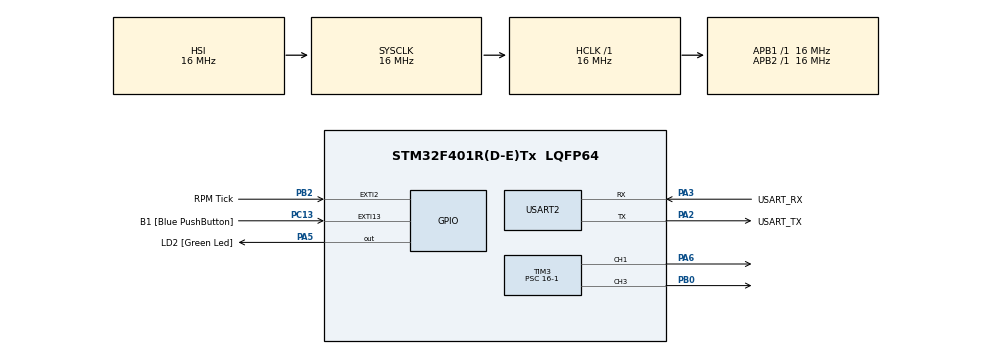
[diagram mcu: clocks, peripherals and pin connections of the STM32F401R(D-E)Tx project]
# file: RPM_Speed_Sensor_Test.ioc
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Mcu.Family=STM32F4
Mcu.Name=STM32F401R(D-E)Tx
Mcu.Package=LQFP64
NVIC.EXTI2_IRQn=true\:0\:0\:false\:false\:true\:true\:true\:true
NVIC.PriorityGroup=NVIC_PRIORITYGROUP_4
PA13.GPIO_Label=TMS
PA13.Mode=Trace_Asynchronous_SW
PA13.Signal=SYS_JTMS-SWDIO
PA14.GPIO_Label=TCK
PA14.Mode=Trace_Asynchronous_SW
PA14.Signal=SYS_JTCK-SWCLK
PA2.GPIO_Label=USART_TX
PA2.GPIO_Mode=GPIO_MODE_AF_PP
PA2.GPIO_PuPd=GPIO_NOPULL
PA2.GPIO_Speed=GPIO_SPEED_FREQ_LOW
PA2.Mode=Asynchronous
PA2.Signal=USART2_TX
PA3.GPIO_Label=USART_RX
PA3.GPIO_Mode=GPIO_MODE_AF_PP
PA3.GPIO_PuPd=GPIO_NOPULL
PA3.GPIO_Speed=GPIO_SPEED_FREQ_LOW
PA3.Mode=Asynchronous
PA3.Signal=USART2_RX
PA5.GPIO_Label=LD2 [Green Led]
PA5.GPIO_Mode=GPIO_MODE_OUTPUT_PP
PA5.GPIO_PuPd=GPIO_NOPULL
PA5.GPIO_Speed=GPIO_SPEED_FREQ_LOW
PA5.Signal=GPIO_Output
PA6.Signal=S_TIM3_CH1
PB0.Signal=S_TIM3_CH3
PB2.GPIO_Label=RPM Tick
PB2.Signal=GPXTI2
PB3.GPIO_Label=SWO
PB3.Mode=Trace_Asynchronous_SW
PB3.Signal=SYS_JTDO-SWO
PC13-ANTI_TAMP.GPIO_Label=B1 [Blue PushButton]
PC13-ANTI_TAMP.GPIO_ModeDefaultEXTI=GPIO_MODE_IT_FALLING
PC13-ANTI_TAMP.GPIO_PuPd=GPIO_NOPULL
PC13-ANTI_TAMP.Signal=GPXTI13
PC14-OSC32_IN.Mode=LSE-External-Oscillator
PC14-OSC32_IN.Signal=RCC_OSC32_IN
PC15-OSC32_OUT.Mode=LSE-External-Oscillator
PC15-OSC32_OUT.Signal=RCC_OSC32_OUT
PH0\ -\ OSC_IN.Mode=HSE-External-Clock-Source
PH0\ -\ OSC_IN.Signal=RCC_OSC_IN
PH1\ -\ OSC_OUT.Mode=HSE-External-Clock-Source
PH1\ -\ OSC_OUT.Signal=RCC_OSC_OUT
ProjectManager.HeapSize=0x200
ProjectManager.StackSize=0x400
ProjectManager.TargetToolchain=STM32CubeIDE
RCC.48MHZClocksFreq_Value=48000000
RCC.AHBFreq_Value=16000000
RCC.APB1Freq_Value=16000000
RCC.APB1TimFreq_Value=16000000
RCC.APB2Freq_Value=16000000
RCC.APB2TimFreq_Value=16000000
RCC.CortexFreq_Value=16000000
RCC.HCLKFreq_Value=16000000
RCC.HSE_VALUE=8000000
RCC.HSI_VALUE=16000000
RCC.PLLN=336
RCC.PLLP=RCC_PLLP_DIV4
RCC.PLLQ=7
RCC.SYSCLKFreq_VALUE=16000000
RCC.VCOOutputFreq_Value=336000000
SH.S_TIM3_CH1.0=TIM3_CH1,PWM Generation1 CH1
SH.S_TIM3_CH3.0=TIM3_CH3,PWM Generation3 CH3
TIM3.AutoReloadPreload=TIM_AUTORELOAD_PRELOAD_ENABLE
TIM3.Channel-PWM\ Generation1\ CH1=TIM_CHANNEL_1
TIM3.Channel-PWM\ Generation3\ CH3=TIM_CHANNEL_3
TIM3.Period=2000-1
TIM3.Prescaler=16-1
TIM3.Pulse-PWM\ Generation1\ CH1=1200-1
USART2.VirtualMode=VM_ASYNC
VP_TIM3_VS_ClockSourceINT.Mode=Internal
board=NUCLEO-F401RE

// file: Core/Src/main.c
/* USER CODE BEGIN Header */
/**
  ******************************************************************************
  * @file           : main.c
  * @brief          : Main program body
  ******************************************************************************
  * @attention
  *
  * Copyright (c) 2025 STMicroelectronics.
  * All rights reserved.
  *
  * This software is licensed under terms that can be found in the LICENSE file
  * in the root directory of this software component.
  * If no LICENSE file comes with this software, it is provided AS-IS.
  *
  ******************************************************************************
  */
/* USER CODE END Header */
#include "main.h"

/* USER CODE BEGIN Includes */
#include <string.h>
#include <stdio.h>
/* USER CODE END Includes */

TIM_HandleTypeDef htim3;

UART_HandleTypeDef huart2;

/* USER CODE BEGIN PV */

volatile uint16_t rpm_tick_count = 0;

/* USER CODE END PV */

void SystemClock_Config(void);
static void MX_GPIO_Init(void);
static void MX_USART2_UART_Init(void);
static void MX_TIM3_Init(void);
/* USER CODE BEGIN PFP */
static void send_rpm_tick(void);
/* USER CODE END PFP */

int main(void)
{

  /* MCU Configuration--------------------------------------------------------*/

  /* Reset of all peripherals, Initializes the Flash interface and the Systick. */
  HAL_Init();

  /* Configure the system clock */
  SystemClock_Config();

  /* Initialize all configured peripherals */
  MX_GPIO_Init();
  MX_USART2_UART_Init();
  MX_TIM3_Init();
  /* USER CODE BEGIN 2 */
  HAL_TIM_Base_Init(&htim3);
  HAL_TIM_PWM_Start(&htim3, TIM_CHANNEL_1);
  HAL_TIM_PWM_Start(&htim3, TIM_CHANNEL_3);

  TIM3 -> PSC = 16 - 1;
  TIM3 -> ARR = 2000 - 1;
  TIM3 -> CCR1 = 1200 - 1;
  TIM3 -> CCR3 = 0;

  int TIM3_Ch1_DCVAL = 0;
  int TIM3_Ch3_DCVAL = 0;

  /* USER CODE END 2 */

  /* Infinite loop */
  /* USER CODE BEGIN WHILE */
  while (1)
  {
	  while(TIM3_Ch1_DCVAL < 2000) {
		  TIM3_Ch1_DCVAL += (100);
		  TIM3 -> CCR1 = TIM3_Ch1_DCVAL;

		  send_rpm_tick();
		  HAL_Delay(5000);
	  }

	  while(TIM3_Ch1_DCVAL > 0) {
		  TIM3_Ch1_DCVAL -= (100);
		  TIM3 -> CCR1 = TIM3_Ch1_DCVAL;

		  send_rpm_tick();
		  HAL_Delay(5000);
	  }

	  while(TIM3_Ch3_DCVAL < 2000) {
		 TIM3_Ch3_DCVAL += (100);
		 TIM3 -> CCR3 = TIM3_Ch3_DCVAL;

		 send_rpm_tick();
		 HAL_Delay(5000);
	  }

	  while(TIM3_Ch3_DCVAL > 0) {
		  TIM3_Ch3_DCVAL -= (100);
		  TIM3 -> CCR3 = TIM3_Ch3_DCVAL;

		  send_rpm_tick();
		  HAL_Delay(5000);
	  }
    /* USER CODE END WHILE */

  }
}

void SystemClock_Config(void)
{
  RCC_OscInitTypeDef RCC_OscInitStruct = {0};
  RCC_ClkInitTypeDef RCC_ClkInitStruct = {0};

  /** Configure the main internal regulator output voltage
  */
  __HAL_RCC_PWR_CLK_ENABLE();
  __HAL_PWR_VOLTAGESCALING_CONFIG(PWR_REGULATOR_VOLTAGE_SCALE2);

  /** Initializes the RCC Oscillators according to the specified parameters
  * in the RCC_OscInitTypeDef structure.
  */
  RCC_OscInitStruct.OscillatorType = RCC_OSCILLATORTYPE_HSI;
  RCC_OscInitStruct.HSIState = RCC_HSI_ON;
  RCC_OscInitStruct.HSICalibrationValue = RCC_HSICALIBRATION_DEFAULT;
  RCC_OscInitStruct.PLL.PLLState = RCC_PLL_NONE;
  if (HAL_RCC_OscConfig(&RCC_OscInitStruct) != HAL_OK)
  {
    Error_Handler();
  }

  /** Initializes the CPU, AHB and APB buses clocks
  */
  RCC_ClkInitStruct.ClockType = RCC_CLOCKTYPE_HCLK|RCC_CLOCKTYPE_SYSCLK
                              |RCC_CLOCKTYPE_PCLK1|RCC_CLOCKTYPE_PCLK2;
  RCC_ClkInitStruct.SYSCLKSource = RCC_SYSCLKSOURCE_HSI;
  RCC_ClkInitStruct.AHBCLKDivider = RCC_SYSCLK_DIV1;
  RCC_ClkInitStruct.APB1CLKDivider = RCC_HCLK_DIV1;
  RCC_ClkInitStruct.APB2CLKDivider = RCC_HCLK_DIV1;

  if (HAL_RCC_ClockConfig(&RCC_ClkInitStruct, FLASH_LATENCY_0) != HAL_OK)
  {
    Error_Handler();
  }
}

static void MX_TIM3_Init(void)
{

  TIM_ClockConfigTypeDef sClockSourceConfig = {0};
  TIM_MasterConfigTypeDef sMasterConfig = {0};
  TIM_OC_InitTypeDef sConfigOC = {0};

  htim3.Instance = TIM3;
  htim3.Init.Prescaler = 16-1;
  htim3.Init.CounterMode = TIM_COUNTERMODE_UP;
  htim3.Init.Period = 2000-1;
  htim3.Init.ClockDivision = TIM_CLOCKDIVISION_DIV1;
  htim3.Init.AutoReloadPreload = TIM_AUTORELOAD_PRELOAD_ENABLE;
  if (HAL_TIM_Base_Init(&htim3) != HAL_OK)
  {
    Error_Handler();
  }
  sClockSourceConfig.ClockSource = TIM_CLOCKSOURCE_INTERNAL;
  if (HAL_TIM_ConfigClockSource(&htim3, &sClockSourceConfig) != HAL_OK)
  {
    Error_Handler();
  }
  if (HAL_TIM_PWM_Init(&htim3) != HAL_OK)
  {
    Error_Handler();
  }
  sMasterConfig.MasterOutputTrigger = TIM_TRGO_RESET;
  sMasterConfig.MasterSlaveMode = TIM_MASTERSLAVEMODE_DISABLE;
  if (HAL_TIMEx_MasterConfigSynchronization(&htim3, &sMasterConfig) != HAL_OK)
  {
    Error_Handler();
  }
  sConfigOC.OCMode = TIM_OCMODE_PWM1;
  sConfigOC.Pulse = 1200-1;
  sConfigOC.OCPolarity = TIM_OCPOLARITY_HIGH;
  sConfigOC.OCFastMode = TIM_OCFAST_DISABLE;
  if (HAL_TIM_PWM_ConfigChannel(&htim3, &sConfigOC, TIM_CHANNEL_1) != HAL_OK)
  {
    Error_Handler();
  }
  sConfigOC.Pulse = 0;
  if (HAL_TIM_PWM_ConfigChannel(&htim3, &sConfigOC, TIM_CHANNEL_3) != HAL_OK)
  {
    Error_Handler();
  }
  HAL_TIM_MspPostInit(&htim3);

}

static void MX_USART2_UART_Init(void)
{

  huart2.Instance = USART2;
  huart2.Init.BaudRate = 115200;
  huart2.Init.WordLength = UART_WORDLENGTH_8B;
  huart2.Init.StopBits = UART_STOPBITS_1;
  huart2.Init.Parity = UART_PARITY_NONE;
  huart2.Init.Mode = UART_MODE_TX_RX;
  huart2.Init.HwFlowCtl = UART_HWCONTROL_NONE;
  huart2.Init.OverSampling = UART_OVERSAMPLING_16;
  if (HAL_UART_Init(&huart2) != HAL_OK)
  {
    Error_Handler();
  }

}

static void MX_GPIO_Init(void)
{
  GPIO_InitTypeDef GPIO_InitStruct = {0};

  /* GPIO Ports Clock Enable */
  __HAL_RCC_GPIOC_CLK_ENABLE();
  __HAL_RCC_GPIOH_CLK_ENABLE();
  __HAL_RCC_GPIOA_CLK_ENABLE();
  __HAL_RCC_GPIOB_CLK_ENABLE();

  /*Configure GPIO pin Output Level */
  HAL_GPIO_WritePin(LD2_GPIO_Port, LD2_Pin, GPIO_PIN_RESET);

  /*Configure GPIO pin : B1_Pin */
  GPIO_InitStruct.Pin = B1_Pin;
  GPIO_InitStruct.Mode = GPIO_MODE_IT_FALLING;
  GPIO_InitStruct.Pull = GPIO_NOPULL;
  HAL_GPIO_Init(B1_GPIO_Port, &GPIO_InitStruct);

  /*Configure GPIO pin : LD2_Pin */
  GPIO_InitStruct.Pin = LD2_Pin;
  GPIO_InitStruct.Mode = GPIO_MODE_OUTPUT_PP;
  GPIO_InitStruct.Pull = GPIO_NOPULL;
  GPIO_InitStruct.Speed = GPIO_SPEED_FREQ_LOW;
  HAL_GPIO_Init(LD2_GPIO_Port, &GPIO_InitStruct);

  /*Configure GPIO pin : RPM_Tick_Pin */
  GPIO_InitStruct.Pin = RPM_Tick_Pin;
  GPIO_InitStruct.Mode = GPIO_MODE_IT_RISING;
  GPIO_InitStruct.Pull = GPIO_NOPULL;
  HAL_GPIO_Init(RPM_Tick_GPIO_Port, &GPIO_InitStruct);

  /* EXTI interrupt init*/
  HAL_NVIC_SetPriority(EXTI2_IRQn, 0, 0);
  HAL_NVIC_EnableIRQ(EXTI2_IRQn);

}

/* USER CODE BEGIN 4 */

void HAL_GPIO_EXTI_Callback(uint16_t GPIO_Pin)
{
	if (GPIO_Pin == RPM_Tick_Pin)
	{
		rpm_tick_count += 1;
	}
}

static void send_rpm_tick(void)
{
	char tick_msg_buffer[64];
	__disable_irq();
	uint16_t ticks = rpm_tick_count;
	__enable_irq();

	sprintf( tick_msg_buffer, "rpm_tick_count: %u\r\n", ticks);
	HAL_UART_Transmit(&huart2, (uint8_t*)tick_msg_buffer, strlen(tick_msg_buffer), HAL_MAX_DELAY );
}

/* USER CODE END 4 */

void Error_Handler(void)
{
  __disable_irq();
  while (1)
  {
  }
}
